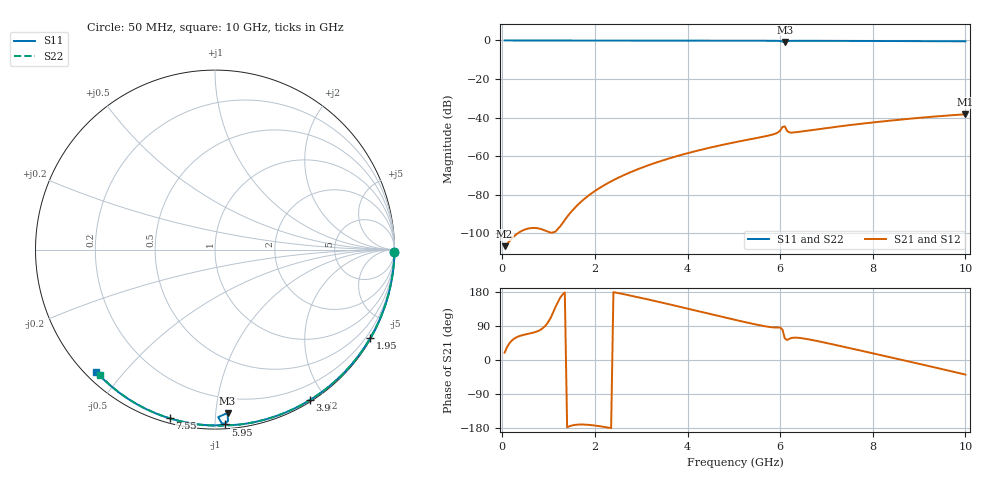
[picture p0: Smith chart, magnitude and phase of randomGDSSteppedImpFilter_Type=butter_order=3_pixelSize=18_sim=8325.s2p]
! freq	dB(S11)	phase(S11)	dB(S12)	phase(S12)
!  dB(S21)	phase(S21)	dB(S22)	phase(S22)
!S-par simulation data
#  GHz  S  DB  R 50
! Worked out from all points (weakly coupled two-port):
!   200 points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, 50 MHz to 10 GHz, reference 50 ohm
!   highest |S21| = -38.34 dB at 10 GHz (marker M1); lowest = -106.8 dB at 50 MHz (marker M2)
!   lowest |S11| = -0.8 dB at 6.1 GHz (marker M3), VSWR 21.98, Z = 4.91 - j53.7 ohm
!   |S11| at or under -10 dB: nowhere
!   |S22| runs from -0.4 to 0.0 dB; largest |S21 - S12| = 0
!   S11 on the Smith chart (normalised r, x): 50 MHz: open; 1.95 GHz: 0.03, -3.77; 3.9 GHz: 0.02, -1.81; 5.95 GHz: 0.03, -1.06; 7.55 GHz: 0.02, -0.77; 10 GHz: 0.03, -0.42
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0.05  -0.00 -0.8  -106.77 19.4  -106.77 19.4  -0.00 -0.8
0.9  -0.02 -13.8  -98.47 86.7  -98.47 86.7  -0.02 -13.7
1.75  -0.03 -26.7  -82.68 -170.3  -82.68 -170.3  -0.03 -26.4
1.9  -0.04 -28.9  -79.83 -171.6  -79.83 -171.6  -0.04 -28.6
1.95  -0.04 -29.7  -78.97 -172.2  -78.97 -172.2  -0.04 -29.3
2.25  -0.04 -34.1  -74.44 -177.6  -74.44 -177.6  -0.04 -33.7
2.55  -0.05 -38.6  -70.72 175.5  -70.72 175.5  -0.05 -38.1
2.95  -0.06 -44.4  -66.61 165.2  -66.61 165.2  -0.06 -43.8
3.4  -0.07 -50.8  -62.76 152.8  -62.76 152.8  -0.07 -50.2
3.9  -0.08 -57.9  -59.17 138.5  -59.17 138.5  -0.08 -57.2
5.05  -0.11 -73.7  -52.70 105.3  -52.70 105.3  -0.11 -72.7
5.75  -0.15 -83.3  -49.37 87.5  -49.37 87.5  -0.14 -81.8
5.95  -0.21 -86.6  -47.78 85.7  -47.78 85.7  -0.15 -84.3
6  -0.30 -87.8  -46.77 85.6  -46.77 85.6  -0.15 -84.9
6.05  -0.60 -88.9  -44.87 80.2  -44.87 80.2  -0.15 -85.6
6.1  -0.79 -85.6  -44.63 57.3  -44.63 57.3  -0.15 -86.2
6.15  -0.38 -85.6  -46.96 52.7  -46.96 52.7  -0.15 -86.8
6.2  -0.25 -86.9  -47.73 56.1  -47.73 56.1  -0.16 -87.5
6.7  -0.19 -94.4  -46.42 52.6  -46.42 52.6  -0.18 -93.7
7.55  -0.23 -105.0  -43.79 30.0  -43.79 30.0  -0.23 -104.0
8.35  -0.29 -114.7  -41.67 8.0  -41.67 8.0  -0.29 -113.4
10  -0.45 -134.1  -38.34 -38.4  -38.34 -38.4  -0.45 -132.5
